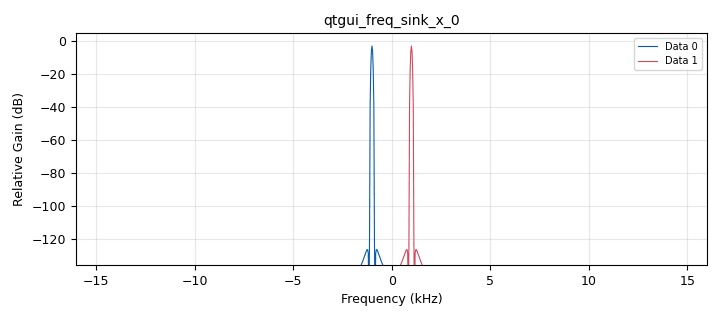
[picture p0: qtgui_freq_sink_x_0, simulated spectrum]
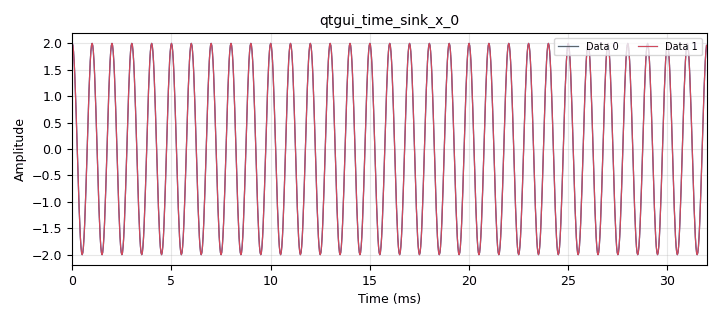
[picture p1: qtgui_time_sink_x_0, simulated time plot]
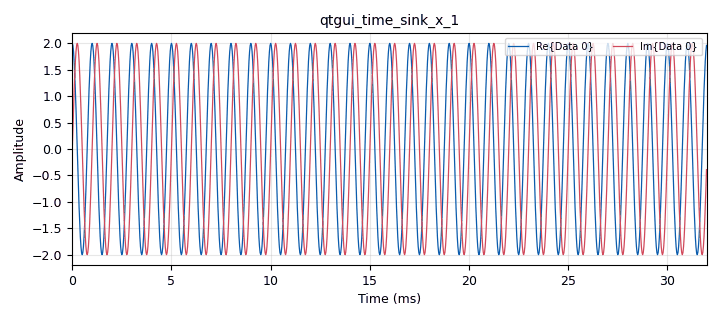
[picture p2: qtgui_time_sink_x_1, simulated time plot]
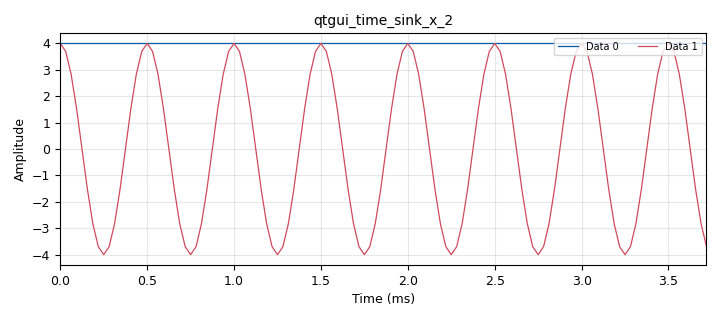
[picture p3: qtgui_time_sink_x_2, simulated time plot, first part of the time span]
options:
  parameters:
    generate_options: qt_gui
    id: run_conjg_effect_on_same_signal_spectra_and_re_img
    output_language: python
    title: Conjg effect on same signal spectra and re img components
  states: {}

blocks:
- name: samp_rate
  id: variable
  parameters:
    value: '32000'
  states: {}
- name: analog_sig_source_x_0
  id: analog_sig_source_x
  parameters:
    amp: '2'
    freq: '1000'
    offset: '0'
    phase: '0'
    samp_rate: samp_rate
    type: complex
    waveform: analog.GR_COS_WAVE
  states: {}
- name: blocks_complex_to_real_0
  id: blocks_complex_to_real
  parameters: {}
  states: {}
- name: blocks_complex_to_real_0_0
  id: blocks_complex_to_real
  parameters: {}
  states: {}
- name: blocks_complex_to_real_0_0_0
  id: blocks_complex_to_real
  parameters: {}
  states: {}
- name: blocks_complex_to_real_0_0_0_0
  id: blocks_complex_to_real
  parameters: {}
  states: {}
- name: blocks_conjugate_cc_0
  id: blocks_conjugate_cc
  parameters: {}
  states: {}
- name: blocks_multiply_xx_0
  id: blocks_multiply_xx
  parameters:
    type: complex
  states: {}
- name: blocks_multiply_xx_0_0
  id: blocks_multiply_xx
  parameters:
    type: complex
  states: {}
- name: blocks_throttle_0
  id: blocks_throttle
  parameters:
    samples_per_second: samp_rate
    type: complex
  states: {}
- name: qtgui_freq_sink_x_0
  id: qtgui_freq_sink_x
  parameters:
    autoscale: 'True'
    bw: samp_rate
    fc: '0'
    fftsize: '1024'
    label2: ''
    nconnections: '2'
    showports: 'True'
    type: complex
    wintype: firdes.WIN_BLACKMAN_hARRIS
  states: {}
- name: qtgui_time_sink_x_0
  id: qtgui_time_sink_x
  parameters:
    autoscale: 'True'
    label1: ''
    label2: ''
    nconnections: '2'
    size: '1024'
    srate: samp_rate
    type: float
  states: {}
- name: qtgui_time_sink_x_1
  id: qtgui_time_sink_x
  parameters:
    autoscale: 'True'
    label1: ''
    label2: ''
    size: '1024'
    srate: samp_rate
    type: complex
  states: {}
- name: qtgui_time_sink_x_2
  id: qtgui_time_sink_x
  parameters:
    autoscale: 'True'
    label1: ''
    label2: ''
    nconnections: '2'
    size: '1024'
    srate: samp_rate
    type: float
  states: {}

connections:
- [analog_sig_source_x_0, '0', blocks_throttle_0, '0']
- [blocks_complex_to_real_0, '0', qtgui_time_sink_x_0, '0']
- [blocks_complex_to_real_0_0, '0', qtgui_time_sink_x_0, '1']
- [blocks_complex_to_real_0_0_0, '0', qtgui_time_sink_x_2, '0']
- [blocks_complex_to_real_0_0_0_0, '0', qtgui_time_sink_x_2, '1']
- [blocks_conjugate_cc_0, '0', blocks_complex_to_real_0, '0']
- [blocks_conjugate_cc_0, '0', blocks_multiply_xx_0, '0']
- [blocks_conjugate_cc_0, '0', qtgui_freq_sink_x_0, '0']
- [blocks_multiply_xx_0, '0', blocks_complex_to_real_0_0_0, '0']
- [blocks_multiply_xx_0_0, '0', blocks_complex_to_real_0_0_0_0, '0']
- [blocks_throttle_0, '0', blocks_complex_to_real_0_0, '0']
- [blocks_throttle_0, '0', blocks_conjugate_cc_0, '0']
- [blocks_throttle_0, '0', blocks_multiply_xx_0, '1']
- [blocks_throttle_0, '0', blocks_multiply_xx_0_0, '0']
- [blocks_throttle_0, '0', blocks_multiply_xx_0_0, '1']
- [blocks_throttle_0, '0', qtgui_freq_sink_x_0, '1']
- [blocks_throttle_0, '0', qtgui_time_sink_x_1, '0']

metadata:
  file_format: 1
